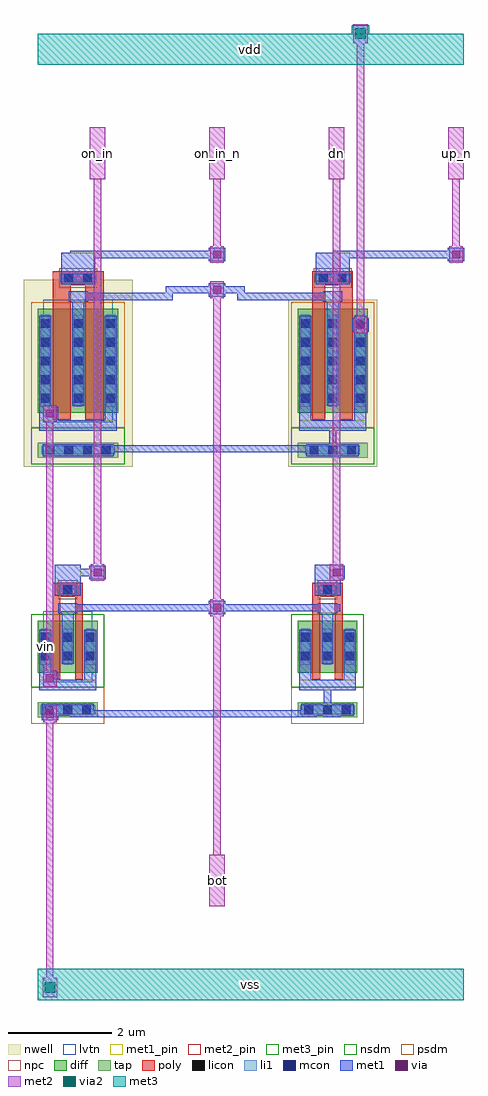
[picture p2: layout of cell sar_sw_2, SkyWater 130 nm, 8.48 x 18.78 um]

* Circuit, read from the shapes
.subckt sar_sw_2 bot dn on_in on_in_n up_n vdd vin vss
XM1 bot on_in vin vss sky130_fd_pr__nfet_01v8_lvt w=1 l=0.15 m=2
XM2 bot dn vss vss sky130_fd_pr__nfet_01v8 w=1 l=0.15 m=2
XM3 bot on_in_n vin vdd sky130_fd_pr__pfet_01v8_lvt w=2 l=0.35 m=2
XM4 bot up_n vdd vdd sky130_fd_pr__pfet_01v8 w=2 l=0.25 m=2
.ends

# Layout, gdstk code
import gdstk
lib = gdstk.Library(unit=1e-6, precision=1e-09)
def R(c, l, rs):  # rectangles x0, y0, x1, y1
    for r in rs: c.add(gdstk.rectangle(r[:2], r[2:], *l))
def A(c, l, x, y, w, h, nx, ny, dx, dy):  # array of equal rectangles
    R(c, l, [(x+i*dx, y+j*dy, x+i*dx+w, y+j*dy+h) for i in range(nx) for j in range(ny)])
nwell = (64, 20)
diff = (65, 20)
tap = (65, 44)
poly = (66, 20)
licon = (66, 44)
li1 = (67, 20)
mcon = (67, 44)
met1_pin = (68, 16)
met1 = (68, 20)
via = (68, 44)
met2_pin = (69, 16)
met2 = (69, 20)
via2 = (69, 44)
met3_pin = (70, 16)
met3 = (70, 20)
nsdm = (93, 44)
psdm = (94, 20)
npc = (95, 20)
lvtn = (125, 44)

pin_met3_w8p2u_l0p6u = lib.new_cell('pin_met3_w8p2u_l0p6u')
R(pin_met3_w8p2u_l0p6u, met3_pin, [(0,0,8.2,0.6)])
R(pin_met3_w8p2u_l0p6u, met3, [(0,0,8.2,0.6)])
pin_met3_w8p2u_l0p6u.add(gdstk.Label('P', (4.1,0.3), layer=70, texttype=16))

pin_met2_w0p3u_l1u = lib.new_cell('pin_met2_w0p3u_l1u')
R(pin_met2_w0p3u_l1u, met2_pin, [(0,0,0.3,1)])
R(pin_met2_w0p3u_l1u, met2, [(0,0,0.3,1)])
pin_met2_w0p3u_l1u.add(gdstk.Label('P', (0.15,0.5), layer=69, texttype=16))

pfet_01v8_w2u_l0p25u_nf1 = lib.new_cell('pfet_01v8_w2u_l0p25u_nf1_m2')
R(pfet_01v8_w2u_l0p25u_nf1, nwell, [(-0.18,-1.04,1.53,2.18)])
R(pfet_01v8_w2u_l0p25u_nf1, diff, [(0,0,1.35,2)])
R(pfet_01v8_w2u_l0p25u_nf1, tap, [(0,-0.86,1.35,-0.57)])
R(pfet_01v8_w2u_l0p25u_nf1, poly, [(0.285,-0.13,0.535,2.46), (0.815,-0.13,1.065,2.46), (0.285,2.46,1.065,2.73)])
A(pfet_01v8_w2u_l0p25u_nf1, licon, 0.23, -0.8, 0.17, 0.17, 3, 1, 0.36, 0)
A(pfet_01v8_w2u_l0p25u_nf1, licon, 0.06, 0.195, 0.17, 0.17, 3, 5, 0.53, 0.36)
R(pfet_01v8_w2u_l0p25u_nf1, licon, [(0.41,2.51,0.58,2.68), (0.77,2.51,0.94,2.68)])
A(pfet_01v8_w2u_l0p25u_nf1, li1, 0.06, 0.115, 0.17, 1.77, 3, 1, 0.53, 0)
R(pfet_01v8_w2u_l0p25u_nf1, li1, [(0.15,-0.8,1.2,-0.63), (0.33,2.51,1.02,2.68)])
A(pfet_01v8_w2u_l0p25u_nf1, mcon, 0.23, -0.8, 0.17, 0.17, 3, 1, 0.36, 0)
A(pfet_01v8_w2u_l0p25u_nf1, mcon, 0.06, 0.195, 0.17, 0.17, 3, 5, 0.53, 0.36)
R(pfet_01v8_w2u_l0p25u_nf1, mcon, [(0.41,2.51,0.58,2.68), (0.77,2.51,0.94,2.68)])
R(pfet_01v8_w2u_l0p25u_nf1, met1_pin, [(0.17,-0.83,1.18,-0.6), (0.03,-0.34,1.32,-0.14), (0.49,2.14,0.86,2.34), (0.35,2.48,1,3.08)])
R(pfet_01v8_w2u_l0p25u_nf1, met1, [(0.17,-0.83,1.18,-0.6), (0.03,-0.34,1.32,-0.14), (0.03,-0.34,0.26,1.865), (1.09,-0.34,1.32,1.865), (0.56,0.135,0.79,2.34), (0.49,2.14,0.86,2.34), (0.35,2.48,1,3.08)])
R(pfet_01v8_w2u_l0p25u_nf1, nsdm, [(-0.125,-0.985,1.475,-0.285)])
R(pfet_01v8_w2u_l0p25u_nf1, psdm, [(-0.125,-0.285,1.475,2.125)])
R(pfet_01v8_w2u_l0p25u_nf1, npc, [(0.31,2.41,1.04,2.78)])
pfet_01v8_w2u_l0p25u_nf1.add(gdstk.Label('B', (0.675,-0.715), layer=68, texttype=16))
pfet_01v8_w2u_l0p25u_nf1.add(gdstk.Label('G', (0.675,2.78), layer=68, texttype=16))
pfet_01v8_w2u_l0p25u_nf1.add(gdstk.Label('D', (0.675,2.24), layer=68, texttype=16))
pfet_01v8_w2u_l0p25u_nf1.add(gdstk.Label('S', (0.675,-0.24), layer=68, texttype=16))

pfet_01v8_lvt_w2u_l0p35u = lib.new_cell('pfet_01v8_lvt_w2u_l0p35u_nf1_m2')
R(pfet_01v8_lvt_w2u_l0p35u, nwell, [(-0.275,-1.04,1.825,2.56), (-0.18,-1.04,1.73,2.18)])
R(pfet_01v8_lvt_w2u_l0p35u, diff, [(0,0,1.55,2)])
R(pfet_01v8_lvt_w2u_l0p35u, tap, [(0,-0.86,1.55,-0.57)])
R(pfet_01v8_lvt_w2u_l0p35u, poly, [(0.285,-0.13,0.635,2.46), (0.915,-0.13,1.265,2.46), (0.285,2.46,1.265,2.73)])
A(pfet_01v8_lvt_w2u_l0p35u, licon, 0.15, -0.8, 0.17, 0.17, 4, 1, 0.36, 0)
A(pfet_01v8_lvt_w2u_l0p35u, licon, 0.06, 0.195, 0.17, 0.17, 3, 5, 0.63, 0.36)
R(pfet_01v8_lvt_w2u_l0p35u, licon, [(0.51,2.51,0.68,2.68), (0.87,2.51,1.04,2.68)])
A(pfet_01v8_lvt_w2u_l0p35u, li1, 0.06, 0.115, 0.17, 1.77, 3, 1, 0.63, 0)
R(pfet_01v8_lvt_w2u_l0p35u, li1, [(0.07,-0.8,1.48,-0.63), (0.43,2.51,1.12,2.68)])
A(pfet_01v8_lvt_w2u_l0p35u, mcon, 0.15, -0.8, 0.17, 0.17, 4, 1, 0.36, 0)
A(pfet_01v8_lvt_w2u_l0p35u, mcon, 0.06, 0.195, 0.17, 0.17, 3, 5, 0.63, 0.36)
R(pfet_01v8_lvt_w2u_l0p35u, mcon, [(0.51,2.51,0.68,2.68), (0.87,2.51,1.04,2.68)])
R(pfet_01v8_lvt_w2u_l0p35u, met1_pin, [(0.09,-0.83,1.46,-0.6), (0.03,-0.34,1.52,-0.14), (0.59,2.14,0.96,2.34), (0.45,2.48,1.1,3.08)])
R(pfet_01v8_lvt_w2u_l0p35u, met1, [(0.09,-0.83,1.46,-0.6), (0.03,-0.34,1.52,-0.14), (0.03,-0.34,0.26,1.865), (1.29,-0.34,1.52,1.865), (0.66,0.135,0.89,2.34), (0.59,2.14,0.96,2.34), (0.45,2.48,1.1,3.08)])
R(pfet_01v8_lvt_w2u_l0p35u, nsdm, [(-0.125,-0.985,1.675,-0.285)])
R(pfet_01v8_lvt_w2u_l0p35u, psdm, [(-0.125,-0.285,1.675,2.125)])
R(pfet_01v8_lvt_w2u_l0p35u, npc, [(0.41,2.41,1.14,2.78)])
R(pfet_01v8_lvt_w2u_l0p35u, lvtn, [(0.105,-0.18,1.445,2.18)])
pfet_01v8_lvt_w2u_l0p35u.add(gdstk.Label('B', (0.775,-0.715), layer=68, texttype=16))
pfet_01v8_lvt_w2u_l0p35u.add(gdstk.Label('G', (0.775,2.78), layer=68, texttype=16))
pfet_01v8_lvt_w2u_l0p35u.add(gdstk.Label('D', (0.775,2.24), layer=68, texttype=16))
pfet_01v8_lvt_w2u_l0p35u.add(gdstk.Label('S', (0.775,-0.24), layer=68, texttype=16))

nfet_01v8_w1u_l0p15u_nf1 = lib.new_cell('nfet_01v8_w1u_l0p15u_nf1_m2')
R(nfet_01v8_w1u_l0p15u_nf1, diff, [(0,0,1.15,1)])
R(nfet_01v8_w1u_l0p15u_nf1, tap, [(0,-0.86,1.15,-0.57)])
R(nfet_01v8_w1u_l0p15u_nf1, poly, [(0.285,-0.13,0.435,1.46), (0.715,-0.13,0.865,1.46), (0.285,1.46,0.865,1.73)])
A(nfet_01v8_w1u_l0p15u_nf1, licon, 0.13, -0.8, 0.17, 0.17, 3, 1, 0.36, 0)
A(nfet_01v8_w1u_l0p15u_nf1, licon, 0.06, 0.235, 0.17, 0.17, 3, 2, 0.43, 0.36)
R(nfet_01v8_w1u_l0p15u_nf1, licon, [(0.49,1.51,0.66,1.68)])
A(nfet_01v8_w1u_l0p15u_nf1, li1, 0.06, 0.155, 0.17, 0.69, 3, 1, 0.43, 0)
R(nfet_01v8_w1u_l0p15u_nf1, li1, [(0.05,-0.8,1.1,-0.63), (0.41,1.51,0.74,1.68)])
A(nfet_01v8_w1u_l0p15u_nf1, mcon, 0.13, -0.8, 0.17, 0.17, 3, 1, 0.36, 0)
A(nfet_01v8_w1u_l0p15u_nf1, mcon, 0.06, 0.235, 0.17, 0.17, 3, 2, 0.43, 0.36)
R(nfet_01v8_w1u_l0p15u_nf1, mcon, [(0.49,1.51,0.66,1.68)])
R(nfet_01v8_w1u_l0p15u_nf1, met1_pin, [(0.07,-0.83,1.08,-0.6), (0.03,-0.34,1.12,-0.14), (0.39,1.14,0.76,1.34), (0.325,1.48,0.825,2.08)])
R(nfet_01v8_w1u_l0p15u_nf1, met1, [(0.07,-0.83,1.08,-0.6), (0.03,-0.34,1.12,-0.14), (0.03,-0.34,0.26,0.825), (0.89,-0.34,1.12,0.825), (0.46,0.175,0.69,1.34), (0.39,1.14,0.76,1.34), (0.325,1.48,0.825,2.08)])
R(nfet_01v8_w1u_l0p15u_nf1, nsdm, [(-0.125,-0.285,1.275,1.125)])
R(nfet_01v8_w1u_l0p15u_nf1, psdm, [(-0.125,-0.985,1.275,-0.285)])
R(nfet_01v8_w1u_l0p15u_nf1, npc, [(0.39,1.41,0.76,1.78)])
nfet_01v8_w1u_l0p15u_nf1.add(gdstk.Label('B', (0.575,-0.715), layer=68, texttype=16))
nfet_01v8_w1u_l0p15u_nf1.add(gdstk.Label('G', (0.575,1.78), layer=68, texttype=16))
nfet_01v8_w1u_l0p15u_nf1.add(gdstk.Label('D', (0.575,1.24), layer=68, texttype=16))
nfet_01v8_w1u_l0p15u_nf1.add(gdstk.Label('S', (0.575,-0.24), layer=68, texttype=16))

nfet_01v8_lvt_w1u_l0p15u = lib.new_cell('nfet_01v8_lvt_w1u_l0p15u_nf1_m2')
R(nfet_01v8_lvt_w1u_l0p15u, diff, [(0,0,1.15,1)])
R(nfet_01v8_lvt_w1u_l0p15u, tap, [(0,-0.86,1.15,-0.57)])
R(nfet_01v8_lvt_w1u_l0p15u, poly, [(0.285,-0.13,0.435,1.46), (0.715,-0.13,0.865,1.46), (0.285,1.46,0.865,1.73)])
A(nfet_01v8_lvt_w1u_l0p15u, licon, 0.13, -0.8, 0.17, 0.17, 3, 1, 0.36, 0)
A(nfet_01v8_lvt_w1u_l0p15u, licon, 0.06, 0.235, 0.17, 0.17, 3, 2, 0.43, 0.36)
R(nfet_01v8_lvt_w1u_l0p15u, licon, [(0.49,1.51,0.66,1.68)])
A(nfet_01v8_lvt_w1u_l0p15u, li1, 0.06, 0.155, 0.17, 0.69, 3, 1, 0.43, 0)
R(nfet_01v8_lvt_w1u_l0p15u, li1, [(0.05,-0.8,1.1,-0.63), (0.41,1.51,0.74,1.68)])
A(nfet_01v8_lvt_w1u_l0p15u, mcon, 0.13, -0.8, 0.17, 0.17, 3, 1, 0.36, 0)
A(nfet_01v8_lvt_w1u_l0p15u, mcon, 0.06, 0.235, 0.17, 0.17, 3, 2, 0.43, 0.36)
R(nfet_01v8_lvt_w1u_l0p15u, mcon, [(0.49,1.51,0.66,1.68)])
R(nfet_01v8_lvt_w1u_l0p15u, met1_pin, [(0.07,-0.83,1.08,-0.6), (0.03,-0.34,1.12,-0.14), (0.39,1.14,0.76,1.34), (0.325,1.48,0.825,2.08)])
R(nfet_01v8_lvt_w1u_l0p15u, met1, [(0.07,-0.83,1.08,-0.6), (0.03,-0.34,1.12,-0.14), (0.03,-0.34,0.26,0.825), (0.89,-0.34,1.12,0.825), (0.46,0.175,0.69,1.34), (0.39,1.14,0.76,1.34), (0.325,1.48,0.825,2.08)])
R(nfet_01v8_lvt_w1u_l0p15u, nsdm, [(-0.125,-0.285,1.275,1.125)])
R(nfet_01v8_lvt_w1u_l0p15u, psdm, [(-0.125,-0.985,1.275,-0.285)])
R(nfet_01v8_lvt_w1u_l0p15u, npc, [(0.39,1.41,0.76,1.78)])
R(nfet_01v8_lvt_w1u_l0p15u, lvtn, [(0.105,-0.18,1.045,1.18)])
nfet_01v8_lvt_w1u_l0p15u.add(gdstk.Label('B', (0.575,-0.715), layer=68, texttype=16))
nfet_01v8_lvt_w1u_l0p15u.add(gdstk.Label('G', (0.575,1.78), layer=68, texttype=16))
nfet_01v8_lvt_w1u_l0p15u.add(gdstk.Label('D', (0.575,1.24), layer=68, texttype=16))
nfet_01v8_lvt_w1u_l0p15u.add(gdstk.Label('S', (0.575,-0.24), layer=68, texttype=16))

sar_sw_2 = lib.new_cell('sar_sw_2')
R(sar_sw_2, met1, [(0.07,2.08,0.39,2.34), (0.62,2.14,5.36,2.28), (5.505,2.14,5.645,2.83), (5.505,2.14,5.82,2.28), (0.07,2.76,0.39,3.02), (3.29,4.12,3.61,4.38), (0.62,4.18,5.82,4.32), (0.99,4.8,1.31,5.06), (5.59,4.8,5.91,5.06), (0.62,4.86,1.22,5), (1.08,7.24,5.36,7.38), (5.605,7.24,5.745,7.83), (5.605,7.24,5.82,7.38), (0.07,7.86,0.39,8.12), (6.05,9.56,6.37,9.82), (0.705,10.17,2.6,10.31), (2.46,10.17,2.6,10.44), (3.84,10.17,5.745,10.31), (3.84,10.17,3.98,10.44), (3.29,10.24,3.61,10.5), (2.46,10.3,3.98,10.44), (3.29,10.92,3.61,11.18), (7.89,10.92,8.21,11.18), (0.62,10.98,3.52,11.12), (5.68,10.98,8.12,11.12)])
R(sar_sw_2, via, [(0.155,2.135,0.305,2.285), (0.155,2.815,0.305,2.965), (3.375,4.175,3.525,4.325), (1.075,4.855,1.225,5.005), (5.675,4.855,5.825,5.005), (0.155,7.915,0.305,8.065), (6.135,9.615,6.285,9.765), (3.375,10.295,3.525,10.445), (3.375,10.975,3.525,11.125), (7.975,10.975,8.125,11.125)])
R(sar_sw_2, met2, [(0.09,-3.245,0.37,-2.875), (0.16,-3.13,0.3,2.28), (3.38,-0.58,3.52,4.32), (0.1,2.05,0.36,2.37), (0.1,2.73,0.36,3.05), (0.16,2.82,0.3,8.06), (3.32,4.09,3.58,4.41), (3.38,4.18,3.52,10.44), (1.02,4.77,1.28,5.09), (5.62,4.77,5.88,5.09), (1.08,4.86,1.22,12.65), (5.68,4.86,5.82,12.65), (0.1,7.83,0.36,8.15), (6.08,9.53,6.34,9.85), (6.14,9.62,6.28,15.37), (3.32,10.21,3.58,10.53), (3.32,10.89,3.58,11.21), (7.92,10.89,8.18,11.21), (3.38,10.98,3.52,12.65), (7.98,10.98,8.12,12.65), (6.07,15.115,6.35,15.485)])
R(sar_sw_2, via2, [(0.13,-3.16,0.33,-2.96), (6.11,15.2,6.31,15.4)])
R(sar_sw_2, met3, [(0.065,-3.225,0.395,-2.895), (6.045,15.135,6.375,15.465)])
sar_sw_2.add(gdstk.Reference(pin_met3_w8p2u_l0p6u, (0,14.7)))
sar_sw_2.add(gdstk.Reference(pin_met2_w0p3u_l1u, (3.3,-1.5)))
sar_sw_2.add(gdstk.Reference(pin_met2_w0p3u_l1u, (5.6,12.5)))
sar_sw_2.add(gdstk.Reference(pin_met2_w0p3u_l1u, (3.3,12.5)))
sar_sw_2.add(gdstk.Reference(pin_met3_w8p2u_l0p6u, (0,-3.3)))
sar_sw_2.add(gdstk.Reference(pfet_01v8_w2u_l0p25u_nf1, (5,8)))
sar_sw_2.add(gdstk.Reference(pfet_01v8_lvt_w2u_l0p35u, (0,8)))
sar_sw_2.add(gdstk.Reference(pin_met2_w0p3u_l1u, (7.9,12.5)))
sar_sw_2.add(gdstk.Reference(pin_met2_w0p3u_l1u, (1,12.5)))
sar_sw_2.add(gdstk.Reference(nfet_01v8_w1u_l0p15u_nf1, (5,3)))
sar_sw_2.add(gdstk.Reference(nfet_01v8_lvt_w1u_l0p15u, (0,3)))
sar_sw_2.add(gdstk.Label('vin', (0.145,3.5), layer=67, texttype=16))
sar_sw_2.add(gdstk.Label('vss', (4.1,-3), layer=70, texttype=16))
sar_sw_2.add(gdstk.Label('vdd', (4.1,15), layer=70, texttype=16))
sar_sw_2.add(gdstk.Label('up_n', (8.05,13), layer=69, texttype=16))
sar_sw_2.add(gdstk.Label('on_in_n', (3.45,13), layer=69, texttype=16))
sar_sw_2.add(gdstk.Label('on_in', (1.15,13), layer=69, texttype=16))
sar_sw_2.add(gdstk.Label('dn', (5.75,13), layer=69, texttype=16))
sar_sw_2.add(gdstk.Label('bot', (3.45,-1), layer=69, texttype=16))

lib.write_gds('sar_sw_2.gds')
